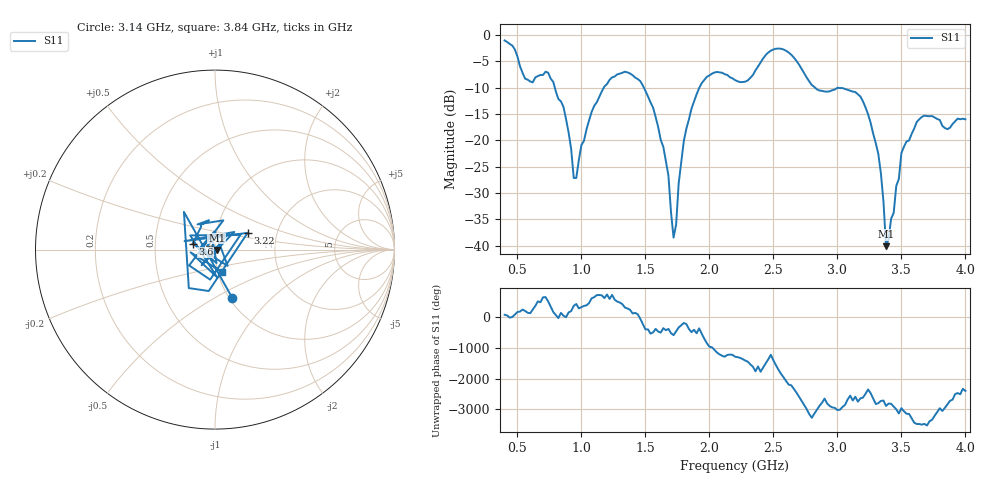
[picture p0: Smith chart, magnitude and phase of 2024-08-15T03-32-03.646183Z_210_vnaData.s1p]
!Created with skrf (http://scikit-rf.org).
# Hz S RI R 50.0
!freq ReS11 ImS11
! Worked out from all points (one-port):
!   181 points, 400 MHz to 4 GHz, reference 50 ohm
!   lowest |S11| = -40.1 dB at 3.38 GHz (marker M1), VSWR 1.02, Z = 51 - j0.203 ohm
!   |S11| at or under -10 dB: 791.9 MHz to 1.176 GHz (383.7 MHz wide, 39 % of centre); 1.488 GHz to 1.922 GHz (434.5 MHz wide, 25.5 % of centre); 2.824 GHz to end of sweep
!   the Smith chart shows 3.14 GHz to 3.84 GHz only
!   S11 on the Smith chart (normalised r, x): 3.14 GHz: 1.03, -0.61; 3.22 GHz: 1.41, +0.28; 3.6 GHz: 0.78, +0.05; 3.84 GHz: 1.05, -0.27
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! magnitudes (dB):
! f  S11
! 400 MHz  -1.1
! 560 MHz  -8.3
! 740 MHz  -7.2
! 860 MHz  -13.7
! 940 MHz  -27.1
! 960 MHz  -27.1
! 1.08 GHz  -14.6
! 1.3 GHz  -7.4
! 1.56 GHz  -13.8
! 1.68 GHz  -26.7
! 1.72 GHz  -38.5
! 1.76 GHz  -28.2
! 1.82 GHz  -17.8
! 1.94 GHz  -9.2
! 2.2 GHz  -8.6
! 2.5 GHz  -2.8
! 2.66 GHz  -4.3
! 2.84 GHz  -10.3
! 3.1 GHz  -10.6
! 3.14 GHz  -10.9
! 3.22 GHz  -13.8
! 3.32 GHz  -22.6
! 3.38 GHz  -40.1
! 3.5 GHz  -22.4
! 3.56 GHz  -20.0
! 3.6 GHz  -17.8
! 3.84 GHz  -17.7
! 4 GHz  -16.0
